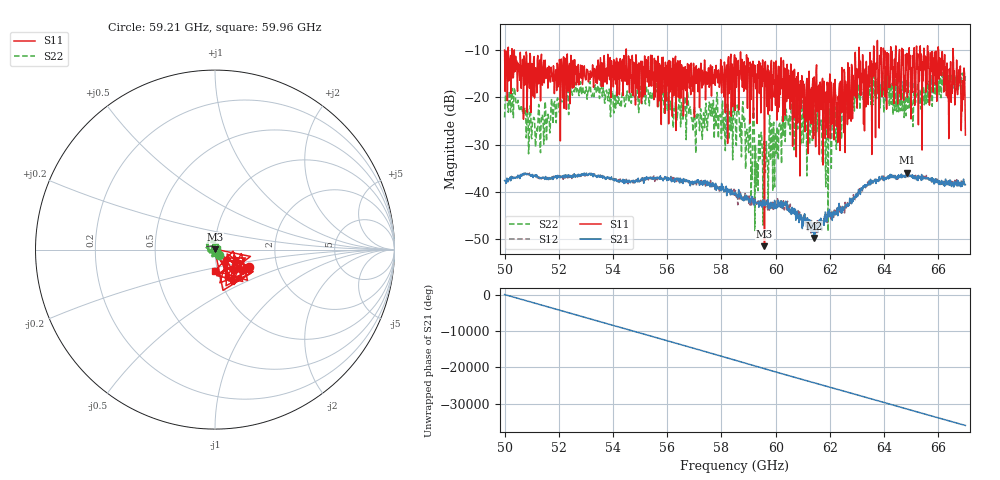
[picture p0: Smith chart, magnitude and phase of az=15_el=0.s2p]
!Created with skrf (http://scikit-rf.org).
# GHz S RI R 50.0
!freq ReS11 ImS11 ReS21 ImS21 ReS12 ImS12 ReS22 ImS22
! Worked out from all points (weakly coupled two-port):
!   1001 points, 50 GHz to 67 GHz, reference 50 ohm
!   highest |S21| = -35.90 dB at 64.86 GHz (marker M1); lowest = -49.7 dB at 61.41 GHz (marker M2)
!   lowest |S11| = -51.4 dB at 59.59 GHz (marker M3), VSWR 1.01, Z = 49.9 + j0.25 ohm
!   |S11| at or under -10 dB: 50.36 GHz to 54.49 GHz (4.13 GHz wide, 7.88 % of centre); 54.49 GHz to 63.07 GHz (8.582 GHz wide, 14.6 % of centre); 63.08 GHz to 63.61 GHz (537.9 MHz wide, 0.849 % of centre) (the widest 3 of 23)
!   |S22| runs from -48.3 to -14.1 dB; largest |S21 - S12| = 0.0021
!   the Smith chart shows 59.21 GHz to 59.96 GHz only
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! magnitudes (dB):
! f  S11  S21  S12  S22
! 50 GHz  -10.0  -37.6  -37.7  -24.2
! 50.42 GHz  -14.0  -37.0  -36.7  -21.3
! 51.38 GHz  -16.9  -37.0  -36.9  -23.8
! 52.84 GHz  -14.1  -36.2  -36.2  -19.4
! 55.68 GHz  -13.4  -36.9  -37.2  -22.2
! 56.99 GHz  -14.7  -38.0  -37.7  -21.9
! 58.5 GHz  -22.8  -40.5  -40.4  -24.6
! 59.3 GHz  -15.1  -42.3  -42.6  -37.9
! 59.59 GHz  -51.4  -41.7  -42.3  -30.9
! 60.64 GHz  -14.4  -44.4  -43.3  -22.1
! 61.34 GHz  -25.1  -47.0  -48.4  -26.1
! 61.41 GHz  -17.3  -49.7  -47.8  -21.6
! 62 GHz  -15.0  -45.2  -44.6  -25.3
! 62.53 GHz  -14.1  -43.5  -44.3  -19.2
! 63.01 GHz  -22.3  -40.6  -40.2  -19.9
! 63.33 GHz  -22.0  -38.5  -38.6  -19.5
! 64.18 GHz  -17.9  -36.6  -36.8  -18.4
! 64.86 GHz  -20.0  -35.9  -36.3  -18.0
! 66.08 GHz  -15.1  -38.2  -37.8  -15.5
! 66.42 GHz  -15.5  -37.5  -37.6  -16.4
! 66.75 GHz  -17.6  -38.2  -37.9  -18.2
! 67 GHz  -28.0  -38.5  -37.8  -15.5
